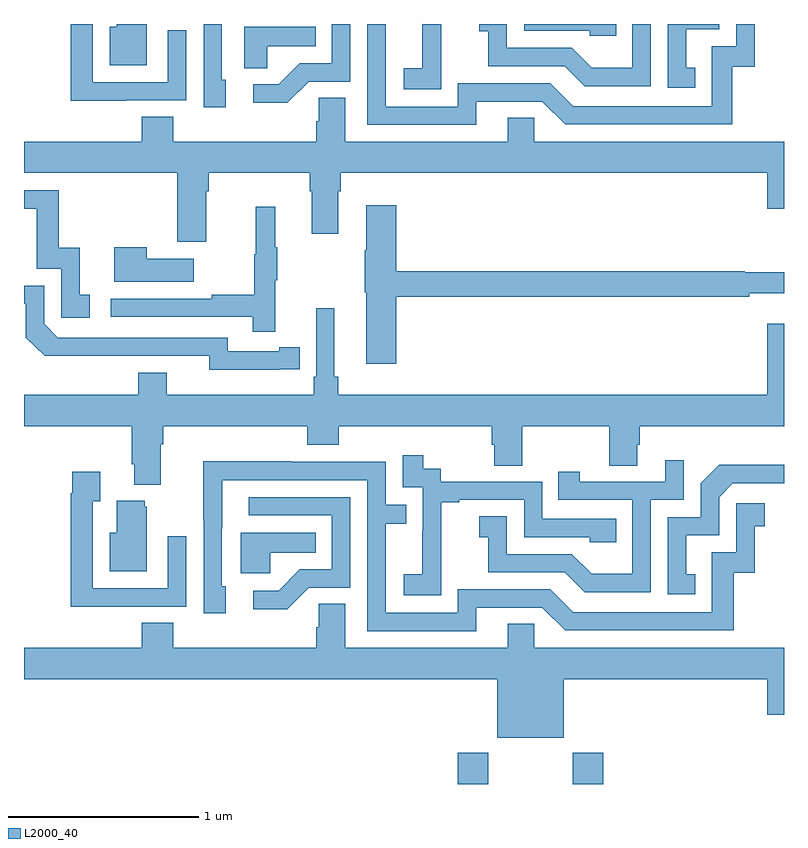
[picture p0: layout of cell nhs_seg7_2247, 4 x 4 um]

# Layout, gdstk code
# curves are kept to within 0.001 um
import gdstk
lib = gdstk.Library(unit=1e-6, precision=1e-09)
def R(c, l, rs):  # rectangles x0, y0, x1, y1
    for r in rs: c.add(gdstk.rectangle(r[:2], r[2:], *l))
def P(c, l, *ps):  # polygons
    for p in ps: c.add(gdstk.Polygon(p, *l))
L2000_40 = (2000, 40)

nhs_seg7_2247 = lib.new_cell('nhs_seg7_2247')
R(nhs_seg7_2247, L2000_40, [(259.283,1064,259.443,1064.164), (259.888,1064,260.048,1064.164)])
P(nhs_seg7_2247, L2000_40, [(260.534,1067.769),(260.485,1067.769),(260.485,1067.973),(260.658,1067.973),(260.658,1068),(260.388,1068),(260.388,1067.664),(260.534,1067.664)],
  [(259.381,1067.592),(259.728,1067.592),(259.848,1067.472),(260.728,1067.472),(260.728,1067.775),(260.846,1067.775),(260.846,1068),(260.748,1068),(260.748,1067.883),(260.619,1067.883),(260.619,1067.568),(259.89,1067.568),(259.77,1067.688),(259.284,1067.688),(259.284,1067.565),(258.903,1067.565),(258.903,1068),(258.807,1068),(258.807,1067.469),(259.381,1067.469)],
  [(258.061,1067.706),(258.042,1067.706),(258.042,1068),(257.946,1068),(257.946,1067.562),(258.061,1067.562)],
  [(260.298,1068),(260.202,1068),(260.202,1067.77),(259.988,1067.77),(259.884,1067.874),(259.542,1067.874),(259.542,1068),(259.395,1068),(259.395,1067.963),(259.444,1067.963),(259.444,1067.778),(259.847,1067.778),(259.952,1067.673),(260.298,1067.673)],
  [(260.117,1068),(259.632,1068),(259.632,1067.964),(259.977,1067.964),(259.977,1067.937),(260.117,1067.937)],
  [(259.197,1067.863),(259.196,1067.863),(259.196,1068),(259.098,1068),(259.098,1067.996),(259.097,1067.996),(259.097,1067.767),(258.999,1067.767),(258.999,1067.657),(259.197,1067.657)],
  [(258.498,1067.697),(258.717,1067.697),(258.717,1068),(258.621,1068),(258.621,1067.793),(258.452,1067.793),(258.341,1067.682),(258.207,1067.682),(258.207,1067.585),(258.385,1067.585)],
  [(257.537,1067.598),(257.853,1067.598),(257.853,1067.968),(257.757,1067.968),(257.757,1067.694),(257.361,1067.694),(257.361,1068),(257.245,1068),(257.245,1067.597),(257.537,1067.597)],
  [(257.647,1068),(257.489,1068),(257.489,1067.986),(257.45,1067.986),(257.45,1067.783),(257.647,1067.783)],
  [(258.279,1067.882),(258.536,1067.882),(258.536,1067.986),(258.158,1067.986),(258.158,1067.767),(258.279,1067.767)],
  [(257.959,1067.12),(257.972,1067.12),(257.972,1067.216),(258.503,1067.216),(258.503,1067.12),(258.515,1067.12),(258.515,1066.896),(258.655,1066.896),(258.655,1067.12),(258.668,1067.12),(258.668,1067.216),(260.912,1067.216),(260.912,1067.028),(261,1067.028),(261,1067.38),(259.686,1067.38),(259.686,1067.507),(259.547,1067.507),(259.547,1067.38),(258.691,1067.38),(258.691,1067.612),(258.552,1067.612),(258.552,1067.489),(258.539,1067.489),(258.539,1067.38),(257.786,1067.38),(257.786,1067.513),(257.621,1067.513),(257.621,1067.38),(257,1067.38),(257,1067.216),(257.807,1067.216),(257.807,1066.854),(257.959,1066.854)],
  [(257.347,1066.575),(257.294,1066.575),(257.294,1066.822),(257.183,1066.822),(257.183,1067.124),(257,1067.124),(257,1067.028),(257.067,1067.028),(257.067,1066.713),(257.196,1066.713),(257.196,1066.455),(257.347,1066.455)],
  [(258.959,1066.564),(260.816,1066.564),(260.816,1066.583),(261,1066.583),(261,1066.693),(260.794,1066.693),(260.794,1066.7),(258.959,1066.7),(258.959,1067.047),(258.8,1067.047),(258.8,1066.808),(258.793,1066.808),(258.793,1066.587),(258.8,1066.587),(258.8,1066.212),(258.959,1066.212)],
  [(258.323,1066.651),(258.334,1066.651),(258.334,1066.825),(258.323,1066.825),(258.323,1067.038),(258.22,1067.038),(258.22,1066.788),(258.213,1066.788),(258.213,1066.574),(257.989,1066.574),(257.989,1066.554),(257.457,1066.554),(257.457,1066.458),(258.205,1066.458),(258.205,1066.38),(258.323,1066.38)],
  [(257.893,1066.765),(257.645,1066.765),(257.645,1066.825),(257.474,1066.825),(257.474,1066.643),(257.893,1066.643)],
  [(258.344,1066.182),(258.452,1066.182),(258.452,1066.298),(258.344,1066.298),(258.344,1066.278),(258.072,1066.278),(258.072,1066.35),(257.178,1066.35),(257.106,1066.422),(257.106,1066.623),(257,1066.623),(257,1066.527),(257.01,1066.527),(257.01,1066.35),(257.108,1066.253),(257.976,1066.254),(257.976,1066.181)],
  [(257.719,1065.788),(257.732,1065.788),(257.732,1065.884),(258.491,1065.884),(258.491,1065.785),(258.656,1065.785),(258.656,1065.884),(259.463,1065.884),(259.463,1065.786),(259.475,1065.786),(259.475,1065.676),(259.623,1065.676),(259.623,1065.884),(260.08,1065.884),(260.08,1065.676),(260.227,1065.676),(260.227,1065.786),(260.24,1065.786),(260.24,1065.884),(261,1065.884),(261,1066.423),(260.912,1066.423),(260.912,1066.048),(258.653,1066.048),(258.653,1066.144),(258.634,1066.144),(258.634,1066.504),(258.537,1066.504),(258.537,1066.144),(258.524,1066.144),(258.524,1066.048),(257.752,1066.048),(257.752,1066.165),(257.6,1066.165),(257.6,1066.048),(257,1066.048),(257,1065.884),(257.567,1065.884),(257.567,1065.682),(257.579,1065.682),(257.579,1065.575),(257.719,1065.575)],
  [(259.197,1065.199),(259.196,1065.199),(259.196,1065.483),(259.291,1065.483),(259.291,1065.495),(259.632,1065.495),(259.632,1065.3),(259.977,1065.3),(259.977,1065.273),(260.117,1065.273),(260.117,1065.396),(259.728,1065.396),(259.728,1065.591),(259.194,1065.591),(259.194,1065.66),(259.102,1065.66),(259.102,1065.73),(258.993,1065.73),(258.993,1065.561),(259.098,1065.561),(259.098,1065.332),(259.097,1065.332),(259.097,1065.103),(258.999,1065.103),(258.999,1064.993),(259.197,1064.993)],
  [(260.298,1065.495),(260.472,1065.495),(260.472,1065.703),(260.375,1065.703),(260.375,1065.591),(259.924,1065.591),(259.924,1065.643),(259.813,1065.643),(259.813,1065.495),(260.202,1065.495),(260.202,1065.106),(259.988,1065.106),(259.884,1065.21),(259.542,1065.21),(259.542,1065.409),(259.395,1065.409),(259.395,1065.299),(259.444,1065.299),(259.444,1065.114),(259.847,1065.114),(259.952,1065.009),(260.298,1065.009)],
  [(259.381,1064.928),(259.728,1064.928),(259.848,1064.808),(260.735,1064.808),(260.735,1065.111),(260.846,1065.111),(260.846,1065.357),(260.899,1065.357),(260.899,1065.478),(260.748,1065.478),(260.748,1065.219),(260.619,1065.219),(260.619,1064.904),(259.89,1064.904),(259.77,1065.024),(259.284,1065.024),(259.284,1064.901),(258.903,1064.901),(258.903,1065.37),(259.013,1065.37),(259.013,1065.471),(258.903,1065.471),(258.903,1065.696),(258.407,1065.696),(258.407,1065.698),(257.944,1065.698),(257.944,1065.391),(257.946,1065.391),(257.946,1064.898),(258.061,1064.898),(258.061,1065.042),(258.042,1065.042),(258.043,1065.6),(258.807,1065.6),(258.807,1064.805),(259.381,1064.805)],
  [(260.534,1065.105),(260.485,1065.105),(260.485,1065.309),(260.658,1065.309),(260.658,1065.51),(260.73,1065.582),(261,1065.582),(261,1065.68),(260.66,1065.68),(260.562,1065.582),(260.562,1065.405),(260.388,1065.405),(260.388,1065),(260.534,1065)],
  [(257.537,1064.934),(257.853,1064.934),(257.853,1065.304),(257.757,1065.304),(257.757,1065.03),(257.361,1065.03),(257.361,1065.487),(257.401,1065.487),(257.401,1065.643),(257.253,1065.643),(257.253,1065.53),(257.245,1065.53),(257.245,1064.933),(257.537,1064.933)],
  [(258.498,1065.033),(258.717,1065.033),(258.717,1065.51),(258.183,1065.51),(258.183,1065.414),(258.621,1065.414),(258.621,1065.129),(258.452,1065.129),(258.341,1065.018),(258.207,1065.018),(258.207,1064.921),(258.385,1064.921)],
  [(257.647,1065.459),(257.636,1065.459),(257.636,1065.49),(257.489,1065.49),(257.489,1065.322),(257.45,1065.322),(257.45,1065.119),(257.647,1065.119)],
  [(258.297,1065.218),(258.536,1065.218),(258.536,1065.322),(258.14,1065.322),(258.14,1065.11),(258.297,1065.11)],
  [(259.84,1064.552),(260.912,1064.552),(260.912,1064.364),(261,1064.364),(261,1064.716),(259.686,1064.716),(259.686,1064.843),(259.547,1064.843),(259.547,1064.716),(258.691,1064.716),(258.691,1064.948),(258.552,1064.948),(258.552,1064.825),(258.539,1064.825),(258.539,1064.716),(257.786,1064.716),(257.786,1064.849),(257.621,1064.849),(257.621,1064.716),(257,1064.716),(257,1064.552),(259.49,1064.552),(259.49,1064.243),(259.84,1064.243)])

lib.write_gds('nhs_seg7_2247.gds')
